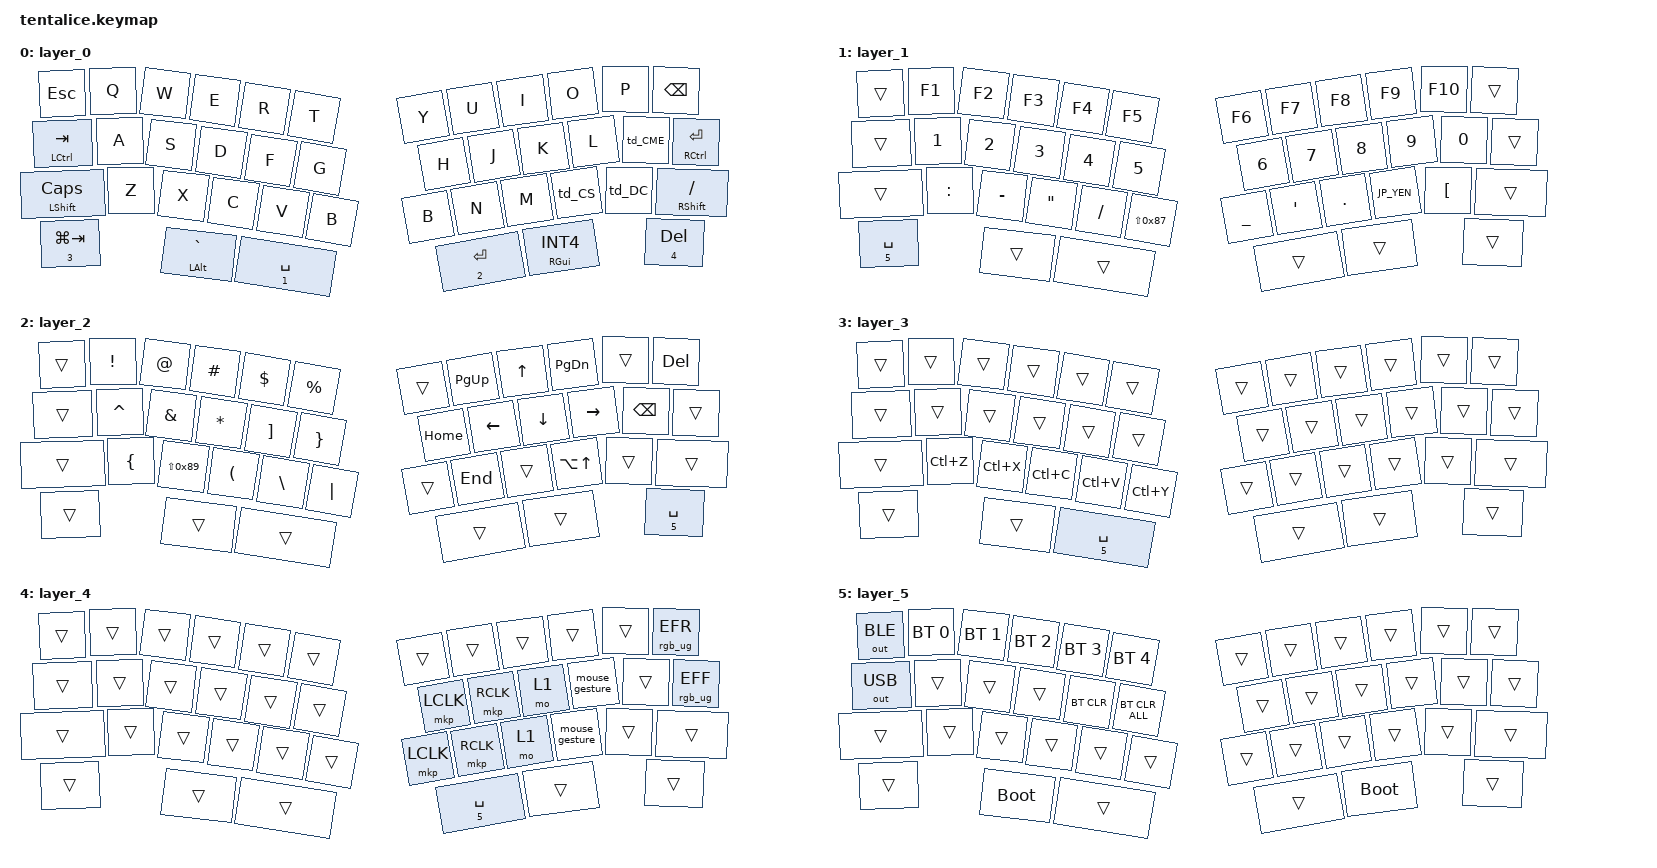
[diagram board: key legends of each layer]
#include <dt-bindings/zmk/behaviors.h>
#include <input/processors.dtsi>
#include <scroll-snap.dtsi>
#include <dt-bindings/zmk/input_transform.h>
#include <input/processors/sensor_rotation.dtsi>
#include <mouse-gesture.dtsi>
#include <behaviors/input_gestures_accel.dtsi>
#include <behaviors.dtsi>
#include <dt-bindings/zmk/bt.h>
#include <dt-bindings/zmk/keys.h>
#include <dt-bindings/zmk/outputs.h>
#include <dt-bindings/zmk/pointing.h>
#include <dt-bindings/zmk/rgb.h>

/* OS設定を日本語キーボードのまま使用するための変換定義 */

#define JP_DQUOTE       AT                // "
#define JP_AMP          CARET             // &
#define JP_QUOTE        AMPERSAND         // '
#define JP_EQUAL        UNDER             // =
#define JP_CARET        EQUAL             // ^
#define JP_YEN          0x89              // ¥
#define JP_PLUS         COLON             // +
#define JP_TILDE        PLUS              // ~
#define JP_PIPE         LS(0x89)          // |
#define JP_AT           LEFT_BRACKET      // @
#define JP_COLON        SINGLE_QUOTE      // :
#define JP_ASTER        DOUBLE_QUOTES     // *
#define JP_BAQT         LEFT_BRACE        // `
#define JP_UNDER        LS(0x87)          // _
#define JP_LBRACKET     RIGHT_BRACKET     // [
#define JP_RBRACKET     BACKSLASH         // ]
#define JP_LPAREN       ASTERISK          // (
#define JP_RPAREN       LEFT_PARENTHESIS  // )
#define JP_LBRACE       RIGHT_BRACE       // {
#define JP_RBRACE       PIPE              // }
#define JP_KANA         LANGUAGE_1        // かな
#define JP_EISU         LANGUAGE_2        // 英数
#define JP_HANZEN       GRAVE             // 半角/全角

/* レイヤー・モディファイアカスタマイズ */

&lt {
    quick-tap-ms = <180>;
    flavor = "hold-preferred";
};

&mt {
    quick-tap-ms = <180>;
    flavor = "hold-preferred";
};

/* トラックボール関連 */

&zip_temp_layer {

    excluded-positions = <
        12 /* left Ctrl */
        24 /* left Shift */
        30 /* right B */
        31 /* N */
        32 /* M */
        33 /* , */
        37 /* left Alt */
    >; // マウスレイヤーを解除しないキーリスト

    require-prior-idle-ms = <200>; // キー入力から一定時間はAMLを発動しない
};

&mkp_input_listener {
    input-processors = <&zip_temp_layer 4 100000>; // マウスキーで時間延長
};

&zip_mouse_gesture {

    /* マウスジェスチャー */

    stroke-size = <50>;
    idle-timeout-ms = <50>;
    gesture-cooldown-ms = <250>;

    history_back {
        pattern = <GESTURE_LEFT>;
        bindings = <&kp LA(LEFT)>;
    };

    history_forward {
        pattern = <GESTURE_RIGHT>;
        bindings = <&kp LA(RIGHT)>;
    };

    close_tab {
        pattern = <GESTURE_DOWN>;
        bindings = <&kp LC(W)>;
    };

    new_tab {
        pattern = <GESTURE_UP>;
        bindings = <&kp LC(T)>;
    };
};

&pointer_accel {

    /* ポインタ加速 */

    input-type = <INPUT_EV_REL>;  // 相対入力デバイス用
    track-remainders;             // 小数点以下の移動量を蓄積する
    min-factor = <800>;           // 非常に遅い速度で 0.8倍
    max-factor = <3000>;          // 高速時に 3.0倍
    speed-threshold = <1200>;     // 1x（等倍）となる速度の閾値：毎秒 1200 カウント
    speed-max = <6000>;           // 最大加速が適用される速度：毎秒 6000 カウント
    acceleration-exponent = <2>;  // 二次（2乗）による加速曲線
};

/ {
    trackball_listener: trackball_listener {
        compatible = "zmk,input-listener";
        device = <&trackball>;

        /* トラックボール操作でマウスレイヤー起動 */

        input-processors = <
            &sensor_rotation
            &zip_xy_transform (INPUT_TRANSFORM_XY_SWAP | INPUT_TRANSFORM_Y_INVERT)
            &zip_temp_layer 4 100000
            &pointer_accel
            &zip_mouse_gesture
        >;

        /* 特定のレイヤーでスクロールモード */

        scroll_mode {
            layers = <1 2>;
            input-processors = <
                &sensor_rotation
                &zip_xy_transform (INPUT_TRANSFORM_XY_SWAP | INPUT_TRANSFORM_Y_INVERT)
                &zip_xy_to_scroll_mapper
                &zip_scroll_scaler 1 10
                &pointer_accel
                &zip_scroll_snap
                &zip_mouse_gesture
            >;
        };
    };

    input_processors {

        /* トラックボールの角度調整 */

        sensor_rotation: sensor_rotation {
            compatible = "zmk,input-processor-sensor-rotation";
            #input-processor-cells = <0>;
            rotation-angle = <45>;
        };
    };
};

/* ビヘイビア・キーマップ関連 */

/ {
    behaviors {

        /* タップダンス */

        td_CS: tap_dance_1 {
            compatible = "zmk,behavior-tap-dance";
            #binding-cells = <0>;
            tapping-term-ms = <160>;
            bindings = <&kp COMMA>, <&kp SEMI>;
        };

        td_DC: tap_dance_2 {
            compatible = "zmk,behavior-tap-dance";
            #binding-cells = <0>;
            tapping-term-ms = <160>;
            bindings = <&kp DOT>, <&kp JP_COLON>;
        };

        td_CME: tap_dance_3 {
            compatible = "zmk,behavior-tap-dance";
            #binding-cells = <0>;
            tapping-term-ms = <160>;
            bindings = <&mt RCTRL MINUS>, <&kp JP_EQUAL>;
        };

        /* レイヤーインジケータ */

        rlt_red: rgb_layer_tap_red {
            compatible = "zmk,behavior-hold-tap";
            #binding-cells = <2>;
            flavor = "hold-preferred";
            tapping-term-ms = <180>;
            bindings = <&rmo_red>, <&kp>;

            quick-tap-ms = <160>;
        };

        rmo_red: rgb_mo_red {
            compatible = "zmk,behavior-macro-one-param";
            wait-ms = <0>;
            tap-ms = <0>;
            #binding-cells = <1>;
            bindings =
                <&macro_param_1to1>,
                <&macro_press>,
                <&mo MACRO_PLACEHOLDER>,
                <&macro_tap>,
                <&rgb_ug RGB_ON>,
                <&macro_tap>,
                <&rgb_ug RGB_COLOR_HSB(0,100,50)>,
                <&macro_pause_for_release>,
                <&macro_param_1to1>,
                <&macro_release>,
                <&mo MACRO_PLACEHOLDER>,
                <&macro_tap>,
                <&rgb_ug RGB_OFF>;
        };

        rlt_blue: rgb_layer_tap_blue {
            compatible = "zmk,behavior-hold-tap";
            #binding-cells = <2>;
            flavor = "hold-preferred";
            tapping-term-ms = <180>;
            bindings = <&rmo_blue>, <&kp>;

            quick-tap-ms = <160>;
        };

        rmo_blue: rgb_mo_blue {
            compatible = "zmk,behavior-macro-one-param";
            wait-ms = <0>;
            tap-ms = <0>;
            #binding-cells = <1>;
            bindings =
                <&macro_param_1to1>,
                <&macro_press>,
                <&mo MACRO_PLACEHOLDER>,
                <&macro_tap>,
                <&rgb_ug RGB_ON>,
                <&macro_tap>,
                <&rgb_ug RGB_COLOR_HSB(240,100,50)>,
                <&macro_pause_for_release>,
                <&macro_param_1to1>,
                <&macro_release>,
                <&mo MACRO_PLACEHOLDER>,
                <&macro_tap>,
                <&rgb_ug RGB_OFF>;
        };

        rlt_green: rgb_layer_tap_green {
            compatible = "zmk,behavior-hold-tap";
            #binding-cells = <2>;
            flavor = "hold-preferred";
            tapping-term-ms = <180>;
            bindings = <&rmo_green>, <&kp>;

            quick-tap-ms = <160>;
        };

        rmo_green: rgb_mo_green {
            compatible = "zmk,behavior-macro-one-param";
            wait-ms = <0>;
            tap-ms = <0>;
            #binding-cells = <1>;
            bindings =
                <&macro_param_1to1>,
                <&macro_press>,
                <&mo MACRO_PLACEHOLDER>,
                <&macro_tap>,
                <&rgb_ug RGB_ON>,
                <&macro_tap>,
                <&rgb_ug RGB_COLOR_HSB(120,100,50)>,
                <&macro_pause_for_release>,
                <&macro_param_1to1>,
                <&macro_release>,
                <&mo MACRO_PLACEHOLDER>,
                <&macro_tap>,
                <&rgb_ug RGB_OFF>;
        };

        rlt_yellow: rgb_layer_tap_yellow {
            compatible = "zmk,behavior-hold-tap";
            #binding-cells = <2>;
            flavor = "hold-preferred";
            tapping-term-ms = <180>;
            bindings = <&rmo_yellow>, <&kp>;

            quick-tap-ms = <160>;
        };

        rmo_yellow: rgb_mo_yellow {
            compatible = "zmk,behavior-macro-one-param";
            wait-ms = <0>;
            tap-ms = <0>;
            #binding-cells = <1>;
            bindings =
                <&macro_param_1to1>,
                <&macro_press>,
                <&mo MACRO_PLACEHOLDER>,
                <&macro_tap>,
                <&rgb_ug RGB_ON>,
                <&macro_tap>,
                <&rgb_ug RGB_COLOR_HSB(60,100,50)>,
                <&macro_pause_for_release>,
                <&macro_param_1to1>,
                <&macro_release>,
                <&mo MACRO_PLACEHOLDER>,
                <&macro_tap>,
                <&rgb_ug RGB_OFF>;
        };

        rlt_violet: rgb_layer_tap_violet {
            compatible = "zmk,behavior-hold-tap";
            #binding-cells = <2>;
            flavor = "hold-preferred";
            tapping-term-ms = <180>;
            bindings = <&rmo_violet>, <&kp>;

            quick-tap-ms = <160>;
        };

        rmo_violet: rgb_mo_violet {
            compatible = "zmk,behavior-macro-one-param";
            wait-ms = <0>;
            tap-ms = <0>;
            #binding-cells = <1>;
            bindings =
                <&macro_param_1to1>,
                <&macro_press>,
                <&mo MACRO_PLACEHOLDER>,
                <&macro_tap>,
                <&rgb_ug RGB_ON>,
                <&macro_tap>,
                <&rgb_ug RGB_COLOR_HSB(270,100,50)>,
                <&macro_pause_for_release>,
                <&macro_param_1to1>,
                <&macro_release>,
                <&mo MACRO_PLACEHOLDER>,
                <&macro_tap>,
                <&rgb_ug RGB_OFF>;
        };

        /* モディファイアインジケータ */

        rmt_orange: rgb_mod_tap_orange {
            compatible = "zmk,behavior-hold-tap";
            #binding-cells = <2>;
            flavor = "hold-preferred";
            tapping-term-ms = <180>;
            bindings = <&rkp_orange>, <&kp>;

            quick-tap-ms = <160>;
        };

        rkp_orange: rgb_kp_orange {
            compatible = "zmk,behavior-macro-one-param";
            wait-ms = <0>;
            tap-ms = <0>;
            #binding-cells = <1>;
            bindings =
                <&macro_param_1to1>,
                <&macro_press>,
                <&kp MACRO_PLACEHOLDER>,
                <&macro_tap>,
                <&rgb_ug RGB_ON>,
                <&macro_tap>,
                <&rgb_ug RGB_COLOR_HSB(15,100,50)>,
                <&macro_pause_for_release>,
                <&macro_param_1to1>,
                <&macro_release>,
                <&kp MACRO_PLACEHOLDER>,
                <&macro_tap>,
                <&rgb_ug RGB_OFF>;
        };

        rmt_cyan: rgb_mod_tap_cyan {
            compatible = "zmk,behavior-hold-tap";
            #binding-cells = <2>;
            flavor = "hold-preferred";
            tapping-term-ms = <180>;
            bindings = <&rkp_cyan>, <&kp>;

            quick-tap-ms = <160>;
        };

        rkp_cyan: rgb_kp_cyan {
            compatible = "zmk,behavior-macro-one-param";
            wait-ms = <0>;
            tap-ms = <0>;
            #binding-cells = <1>;
            bindings =
                <&macro_param_1to1>,
                <&macro_press>,
                <&kp MACRO_PLACEHOLDER>,
                <&macro_tap>,
                <&rgb_ug RGB_ON>,
                <&macro_tap>,
                <&rgb_ug RGB_COLOR_HSB(180,100,50)>,
                <&macro_pause_for_release>,
                <&macro_param_1to1>,
                <&macro_release>,
                <&kp MACRO_PLACEHOLDER>,
                <&macro_tap>,
                <&rgb_ug RGB_OFF>;
        };

        rmt_magenta: rgb_mod_tap_magenta {
            compatible = "zmk,behavior-hold-tap";
            #binding-cells = <2>;
            flavor = "hold-preferred";
            tapping-term-ms = <180>;
            bindings = <&rkp_magenta>, <&kp>;

            quick-tap-ms = <160>;
        };

        rkp_magenta: rgb_kp_magenta {
            compatible = "zmk,behavior-macro-one-param";
            wait-ms = <0>;
            tap-ms = <0>;
            #binding-cells = <1>;
            bindings =
                <&macro_param_1to1>,
                <&macro_press>,
                <&kp MACRO_PLACEHOLDER>,
                <&macro_tap>,
                <&rgb_ug RGB_ON>,
                <&macro_tap>,
                <&rgb_ug RGB_COLOR_HSB(300,100,50)>,
                <&macro_pause_for_release>,
                <&macro_param_1to1>,
                <&macro_release>,
                <&kp MACRO_PLACEHOLDER>,
                <&macro_tap>,
                <&rgb_ug RGB_OFF>;
        };

        rmt_lime: rgb_mod_tap_lime {
            compatible = "zmk,behavior-hold-tap";
            #binding-cells = <2>;
            flavor = "hold-preferred";
            tapping-term-ms = <180>;
            bindings = <&rkp_lime>, <&kp>;

            quick-tap-ms = <160>;
        };

        rkp_lime: rgb_kp_lime {
            compatible = "zmk,behavior-macro-one-param";
            wait-ms = <0>;
            tap-ms = <0>;
            #binding-cells = <1>;
            bindings =
                <&macro_param_1to1>,
                <&macro_press>,
                <&kp MACRO_PLACEHOLDER>,
                <&macro_tap>,
                <&rgb_ug RGB_ON>,
                <&macro_tap>,
                <&rgb_ug RGB_COLOR_HSB(90,100,50)>,
                <&macro_pause_for_release>,
                <&macro_param_1to1>,
                <&macro_release>,
                <&kp MACRO_PLACEHOLDER>,
                <&macro_tap>,
                <&rgb_ug RGB_OFF>;
        };
    };

    macros {
    };

    /* キーマップ */

    keymap {
        compatible = "zmk,keymap";

        layer_0 {
            bindings = <
  &kp ESC                     &kp Q                    &kp W             &kp E             &kp R                        &kp T              &kp Y  &kp U  &kp I  &kp O   &kp P    &kp BSPC
  &rmt_cyan LCTRL TAB         &kp A                    &kp S             &kp D             &kp F                        &kp G              &kp H  &kp J  &kp K  &kp L   &td_CME  &rmt_cyan RCTRL RET
  &rmt_orange LSHFT CAPSLOCK  &kp Z                    &kp X             &kp C             &kp V                        &kp B              &kp B  &kp N  &kp M  &td_CS  &td_DC   &rmt_orange RSHFT SLASH
  &rlt_yellow 3 LG(TAB)       &rmt_magenta LALT JP_HANZEN &rlt_red 1 SPACE  &rlt_green 2 RET  &rmt_lime RGUI INT4  &rlt_blue 4 DELETE
            >;
        };

        layer_1 {
            bindings = <
  &trans               &kp F1       &kp F2     &kp F3        &kp F4     &kp F5        &kp F6        &kp F7        &kp F8   &kp F9      &kp F10    &trans
  &trans               &kp N1       &kp N2     &kp N3        &kp N4     &kp N5        &kp N6        &kp N7        &kp N8   &kp N9      &kp N0     &trans
  &trans               &kp JP_PLUS  &kp MINUS  &kp JP_ASTER  &kp SLASH  &kp JP_UNDER  &kp JP_EQUAL  &kp JP_COLON  &kp DOT  &kp JP_YEN  &kp JP_AT  &trans
  &rlt_violet 5 SPACE  &trans       &trans     &trans        &trans     &trans
            >;
        };

        layer_2 {
            bindings = <
  &trans  &kp EXCL     &kp JP_DQUOTE  &kp HASH       &kp DLLR         &kp PRCNT            &trans    &kp PG_UP  &kp UP    &kp PG_DN   &trans    &kp DEL
  &trans  &kp JP_AMP   &kp JP_QUOTE   &kp JP_LPAREN  &kp JP_LBRACKET  &kp JP_LBRACE        &kp HOME  &kp LEFT   &kp DOWN  &kp RIGHT   &kp BSPC  &trans
  &trans  &kp JP_BAQT  &kp JP_PIPE    &kp JP_RPAREN  &kp JP_RBRACKET  &kp JP_RBRACE        &trans    &kp END    &trans    &kp LA(UP)  &trans    &trans
  &trans  &trans       &trans         &trans         &trans           &rlt_violet 5 SPACE
            >;
        };

        layer_3 {
            bindings = <
  &trans  &trans     &trans               &trans     &trans     &trans     &trans  &trans  &trans  &trans  &trans  &trans
  &trans  &trans     &trans               &trans     &trans     &trans     &trans  &trans  &trans  &trans  &trans  &trans
  &trans  &kp LC(Z)  &kp LC(X)            &kp LC(C)  &kp LC(V)  &kp LC(Y)  &trans  &trans  &trans  &trans  &trans  &trans
  &trans  &trans     &rlt_violet 5 SPACE  &trans     &trans     &trans
            >;
        };

        layer_4 {
            bindings = <
  &trans  &trans  &trans  &trans               &trans  &trans  &trans     &trans     &trans  &trans          &trans  &rgb_ug RGB_EFR
  &trans  &trans  &trans  &trans               &trans  &trans  &mkp LCLK  &mkp RCLK  &mo 1   &mouse_gesture  &trans  &rgb_ug RGB_EFF
  &trans  &trans  &trans  &trans               &trans  &trans  &mkp LCLK  &mkp RCLK  &mo 1   &mouse_gesture  &trans  &trans
  &trans  &trans  &trans  &rlt_violet 5 SPACE  &trans  &trans
            >;
        };

        layer_5 {
            bindings = <
  &out OUT_BLE  &bt BT_SEL 0  &bt BT_SEL 1  &bt BT_SEL 2  &bt BT_SEL 3  &bt BT_SEL 4    &trans  &trans  &trans  &trans  &trans  &trans
  &out OUT_USB  &trans        &trans        &trans        &bt BT_CLR    &bt BT_CLR_ALL  &trans  &trans  &trans  &trans  &trans  &trans
  &trans        &trans        &trans        &trans        &trans        &trans          &trans  &trans  &trans  &trans  &trans  &trans
  &trans        &bootloader   &trans        &trans        &bootloader   &trans
            >;
        };
    };
};
